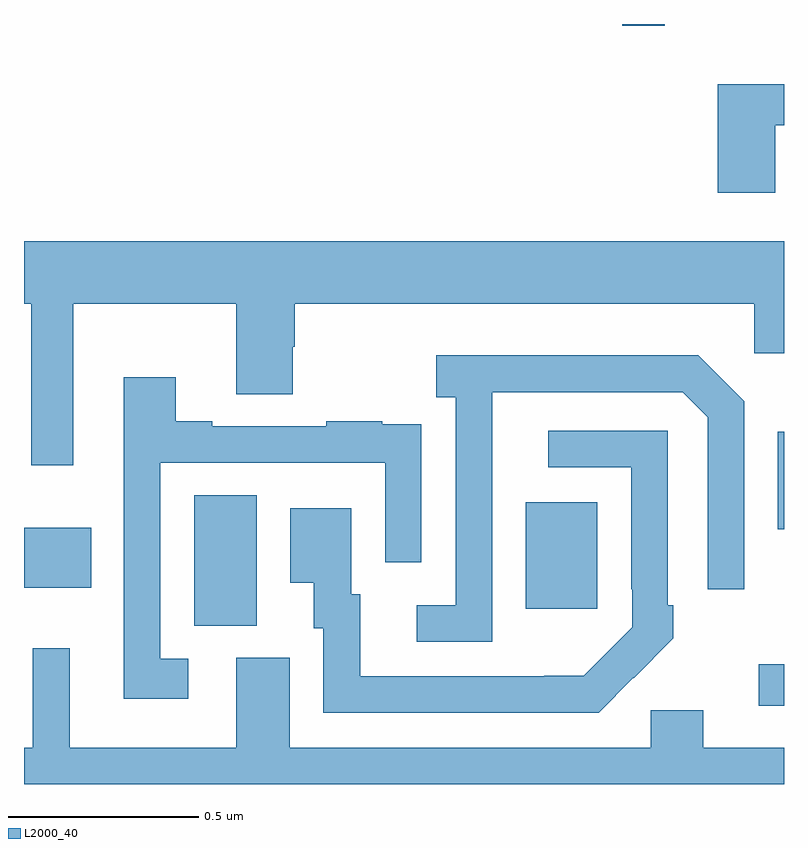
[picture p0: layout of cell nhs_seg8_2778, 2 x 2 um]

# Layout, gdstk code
import gdstk
lib = gdstk.Library(unit=1e-6, precision=1e-09)
def R(c, l, rs):  # rectangles x0, y0, x1, y1
    for r in rs: c.add(gdstk.rectangle(r[:2], r[2:], *l))
def P(c, l, *ps):  # polygons
    for p in ps: c.add(gdstk.Polygon(p, *l))
L2000_40 = (2000, 40)

nhs_seg8_2778 = lib.new_cell('nhs_seg8_2778')
R(nhs_seg8_2778, L2000_40, [(149.934,1118.106,150,1118.215), (148.448,1118.317,148.612,1118.66), (149.321,1118.361,149.509,1118.641), (148,1118.417,148.177,1118.575), (149.984,1118.57,150,1118.827), (149.574,1119.896,149.686,1119.9)])
P(nhs_seg8_2778, L2000_40, [(149.977,1119.633),(150,1119.633),(150,1119.742),(149.825,1119.742),(149.825,1119.456),(149.977,1119.456)],
  [(148.129,1119.164),(148.559,1119.164),(148.559,1118.926),(148.707,1118.926),(148.707,1119.051),(148.712,1119.051),(148.712,1119.164),(149.922,1119.164),(149.922,1119.033),(150,1119.033),(150,1119.328),(148,1119.328),(148,1119.164),(148.019,1119.164),(148.019,1118.739),(148.129,1118.739)],
  [(149.232,1118.931),(149.733,1118.931),(149.799,1118.865),(149.799,1118.412),(149.895,1118.412),(149.895,1118.907),(149.774,1119.028),(149.085,1119.028),(149.085,1118.918),(149.136,1118.918),(149.136,1118.37),(149.034,1118.37),(149.034,1118.274),(149.232,1118.274)],
  [(148.432,1118.229),(148.359,1118.229),(148.359,1118.745),(148.95,1118.745),(148.95,1118.484),(149.046,1118.484),(149.046,1118.738),(149.045,1118.738),(149.045,1118.847),(148.943,1118.847),(148.943,1118.854),(148.795,1118.854),(148.795,1118.841),(148.495,1118.841),(148.495,1118.854),(148.399,1118.854),(148.399,1118.971),(148.262,1118.971),(148.262,1118.748),(148.263,1118.748),(148.263,1118.124),(148.432,1118.124)],
  [(149.603,1118.179),(149.604,1118.178),(149.709,1118.283),(149.709,1118.371),(149.694,1118.371),(149.694,1118.829),(149.379,1118.829),(149.379,1118.733),(149.598,1118.733),(149.598,1118.413),(149.601,1118.413),(149.601,1118.313),(149.473,1118.185),(149.369,1118.185),(149.369,1118.184),(148.885,1118.184),(148.885,1118.4),(148.861,1118.4),(148.861,1118.626),(148.7,1118.626),(148.7,1118.429),(148.763,1118.429),(148.763,1118.31),(148.788,1118.31),(148.788,1118.088),(149.512,1118.088)],
  [(150,1117.996),(149.788,1117.996),(149.788,1118.094),(149.649,1118.094),(149.649,1117.996),(148.699,1117.996),(148.699,1118.232),(148.559,1118.232),(148.559,1117.996),(148.12,1117.996),(148.12,1118.257),(148.023,1118.257),(148.023,1117.996),(148,1117.996),(148,1117.9),(150,1117.9)])

lib.write_gds('nhs_seg8_2778.gds')
